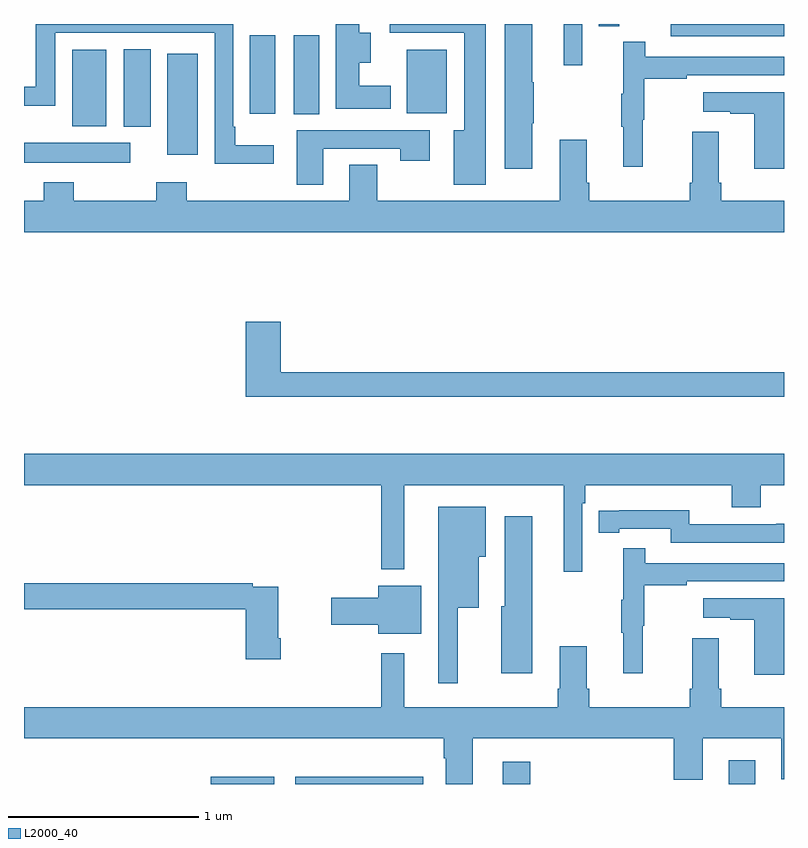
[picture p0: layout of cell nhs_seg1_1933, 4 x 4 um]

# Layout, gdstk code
import gdstk
lib = gdstk.Library(unit=1e-6, precision=1e-09)
def R(c, l, rs):  # rectangles x0, y0, x1, y1
    for r in rs: c.add(gdstk.rectangle(r[:2], r[2:], *l))
def P(c, l, *ps):  # polygons
    for p in ps: c.add(gdstk.Polygon(p, *l))
L2000_40 = (2000, 40)

nhs_seg1_1933 = lib.new_cell('nhs_seg1_1933')
R(nhs_seg1_1933, L2000_40, [(217.983,510.199,218.316,510.236), (218.427,510.199,219.1,510.238), (219.521,510.199,219.665,510.316), (220.709,510.199,220.849,510.325), (217,513.47,217.558,513.574), (217.754,513.51,217.915,514.042), (217.526,513.659,217.666,514.067), (217.253,513.662,217.432,514.063), (218.42,513.724,218.554,514.14), (218.189,513.726,218.323,514.14), (219.014,513.728,219.226,514.063), (219.842,513.981,219.939,514.199), (220.404,514.134,221,514.199), (220.024,514.186,220.132,514.199)])
P(nhs_seg1_1933, L2000_40, [(218.929,513.874),(218.764,513.874),(218.764,513.995),(218.824,513.995),(218.824,514.153),(218.764,514.153),(218.764,514.199),(218.642,514.199),(218.642,513.752),(218.929,513.752)],
  [(219.676,513.676),(219.684,513.676),(219.684,513.893),(219.676,513.893),(219.676,514.199),(219.53,514.199),(219.53,513.438),(219.676,513.438)],
  [(219.43,514.199),(218.925,514.199),(218.925,514.152),(219.317,514.152),(219.317,513.64),(219.263,513.64),(219.263,513.354),(219.43,513.354)],
  [(218.314,513.562),(218.113,513.562),(218.113,513.658),(218.1,513.658),(218.1,514.199),(217.061,514.199),(217.061,513.869),(217,513.869),(217,513.77),(217.165,513.77),(217.165,514.152),(218.004,514.152),(218.004,513.464),(218.314,513.464)],
  [(220.256,513.696),(220.264,513.696),(220.264,513.91),(220.487,513.91),(220.487,513.93),(221,513.93),(221,514.026),(220.271,514.026),(220.271,514.105),(220.154,514.105),(220.154,513.833),(220.143,513.833),(220.143,513.659),(220.154,513.659),(220.154,513.447),(220.256,513.447)],
  [(221,513.841),(220.575,513.841),(220.575,513.737),(220.718,513.737),(220.718,513.727),(220.844,513.727),(220.844,513.438),(221,513.438)],
  [(218.575,513.543),(218.98,513.543),(218.98,513.48),(219.136,513.48),(219.136,513.639),(218.435,513.639),(218.435,513.354),(218.575,513.354)],
  [(221,513.268),(220.67,513.268),(220.67,513.364),(220.657,513.364),(220.657,513.631),(220.517,513.631),(220.517,513.364),(220.505,513.364),(220.505,513.268),(219.974,513.268),(219.974,513.364),(219.961,513.364),(219.961,513.589),(219.821,513.589),(219.821,513.268),(218.859,513.268),(218.859,513.458),(218.711,513.458),(218.711,513.268),(217.856,513.268),(217.856,513.367),(217.696,513.367),(217.696,513.268),(217.263,513.268),(217.263,513.367),(217.103,513.367),(217.103,513.268),(217,513.268),(217,513.104),(221,513.104)],
  [(221,512.366),(218.351,512.366),(218.351,512.632),(218.168,512.632),(218.168,512.238),(221,512.238)],
  [(219.939,511.676),(219.953,511.676),(219.953,511.772),(220.724,511.772),(220.724,511.655),(220.877,511.655),(220.877,511.772),(221,511.772),(221,511.936),(217,511.936),(217,511.772),(218.88,511.772),(218.88,511.328),(219.001,511.328),(219.001,511.772),(219.842,511.772),(219.842,511.317),(219.939,511.317)],
  [(219.283,511.127),(219.394,511.127),(219.394,511.394),(219.43,511.394),(219.43,511.657),(219.179,511.657),(219.179,510.729),(219.283,510.729)],
  [(221,511.568),(220.96,511.568),(220.96,511.566),(220.5,511.566),(220.5,511.639),(220.132,511.639),(220.132,511.638),(220.024,511.638),(220.024,511.522),(220.132,511.522),(220.132,511.542),(220.404,511.542),(220.404,511.47),(221,511.47)],
  [(219.676,511.609),(219.53,511.609),(219.53,511.134),(219.512,511.134),(219.512,510.782),(219.676,510.782)],
  [(220.256,511.032),(220.264,511.032),(220.264,511.246),(220.487,511.246),(220.487,511.266),(221,511.266),(221,511.362),(220.271,511.362),(220.271,511.441),(220.154,511.441),(220.154,511.169),(220.143,511.169),(220.143,510.995),(220.154,510.995),(220.154,510.783),(220.256,510.783)],
  [(218.351,510.967),(218.338,510.967),(218.338,511.236),(218.204,511.236),(218.204,511.256),(217,511.256),(217,511.12),(218.168,511.12),(218.168,510.855),(218.351,510.855)],
  [(219.091,511.243),(218.864,511.243),(218.864,511.178),(218.616,511.178),(218.616,511.036),(218.864,511.036),(218.864,510.989),(219.091,510.989)],
  [(221,511.177),(220.575,511.177),(220.575,511.073),(220.718,511.073),(220.718,511.063),(220.844,511.063),(220.844,510.774),(221,510.774)],
  [(219.361,510.44),(220.421,510.44),(220.421,510.222),(220.573,510.222),(220.573,510.44),(220.985,510.44),(220.985,510.224),(221,510.224),(221,510.604),(220.67,510.604),(220.67,510.7),(220.657,510.7),(220.657,510.967),(220.517,510.967),(220.517,510.7),(220.505,510.7),(220.505,510.604),(219.974,510.604),(219.974,510.7),(219.961,510.7),(219.961,510.925),(219.821,510.925),(219.821,510.7),(219.809,510.7),(219.809,510.604),(219.001,510.604),(219.001,510.886),(218.88,510.886),(218.88,510.604),(217,510.604),(217,510.44),(219.209,510.44),(219.209,510.334),(219.221,510.334),(219.221,510.199),(219.361,510.199)])

lib.write_gds('nhs_seg1_1933.gds')
